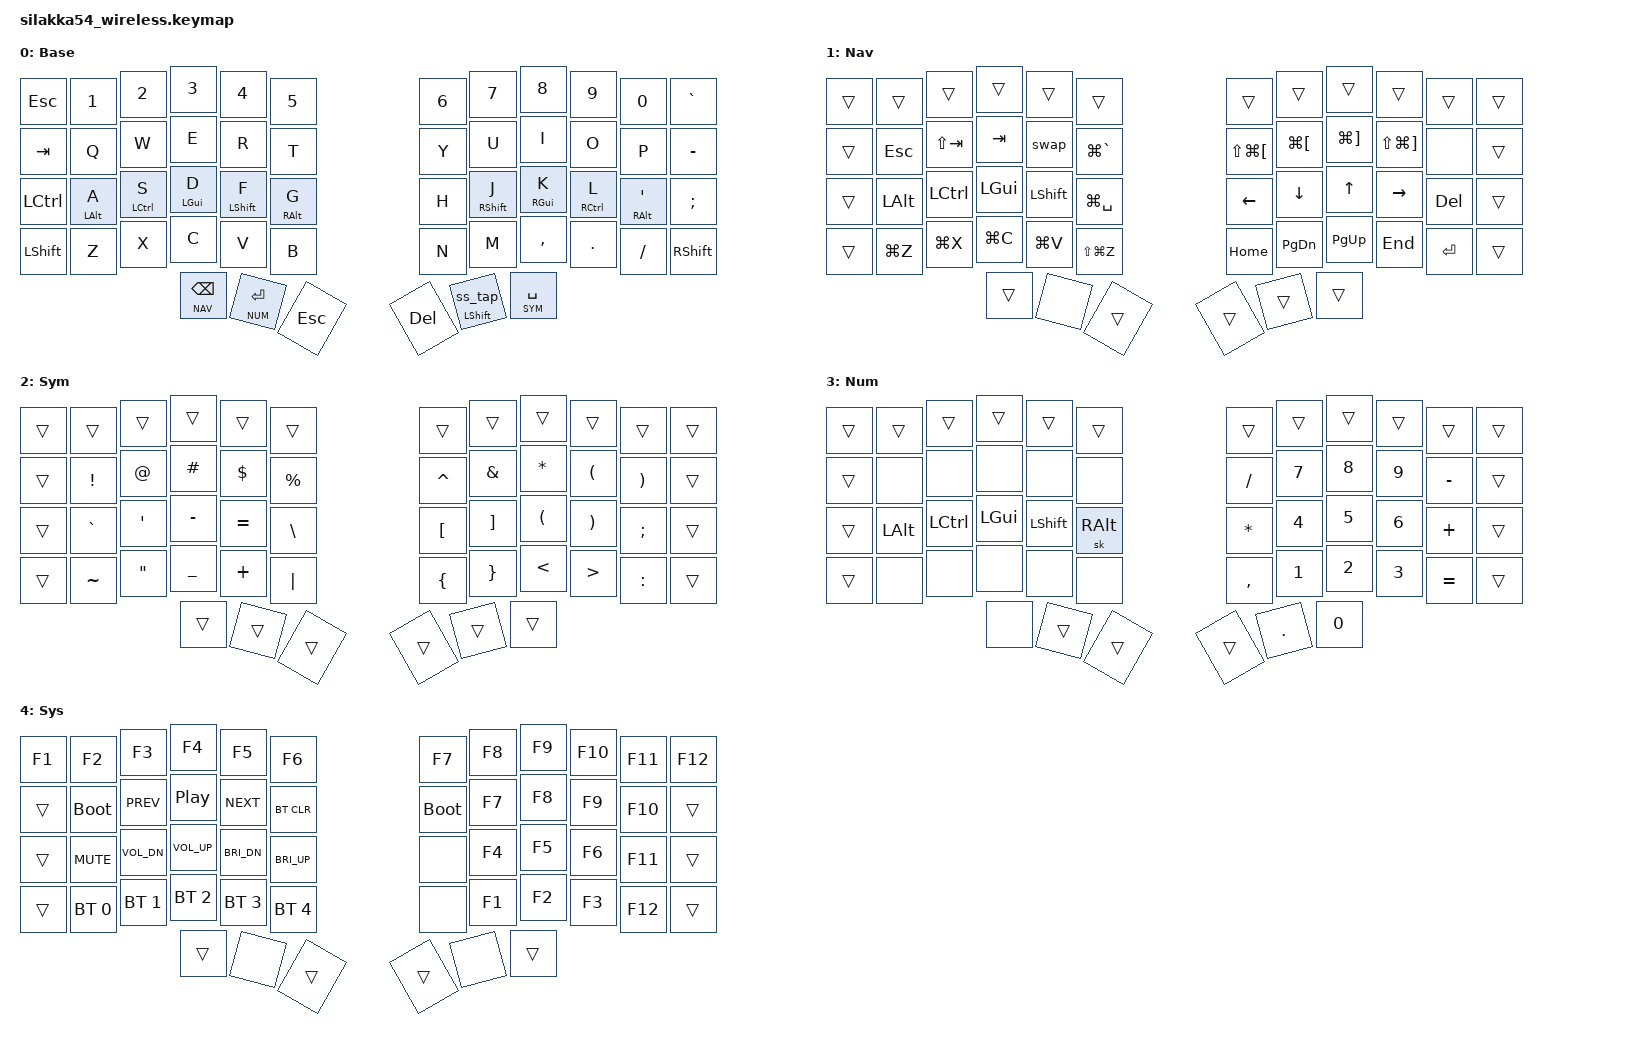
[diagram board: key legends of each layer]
#include <behaviors.dtsi>
#include <dt-bindings/zmk/bt.h>
#include <dt-bindings/zmk/keys.h>

/* Silakka54 Wireless: 54 physical keys, zero-based Studio/keymap positions.
 *   0  1  2  3  4  5       6  7  8  9 10 11
 *  12 13 14 15 16 17      18 19 20 21 22 23
 *  24 25 26 27 28 29      30 31 32 33 34 35
 *  36 37 38 39 40 41      42 43 44 45 46 47
 *           48 49 50      51 52 53
 * The 34-key Forager/Chocofi core is unchanged; extra keys surround it.
 */

#define BASE 0
#define NAV  1
#define SYM  2
#define NUM  3
#define SYS  4

&lt {
  flavor = "balanced";
  quick-tap-ms = <175>;
  tapping-term-ms = <250>;
};

&sk {
  release-after-ms = <1000>;
  quick-release;
};

/ {
  behaviors {
    hml: homewrow_mods_left {
      compatible = "zmk,behavior-hold-tap";
      #binding-cells = <2>;
      flavor = "balanced";
      bindings = <&kp>, <&kp>;
      tapping-term-ms = <280>;
      quick-tap-ms = <175>;
      require-prior-idle-ms = <150>;
      hold-trigger-on-release;
      hold-trigger-key-positions = <6 7 8 9 10 11 18 19 20 21 22 23 30 31 32 33 34 35 42 43 44 45 46 47 48 49 50 51 52 53>;
    };

    hmr: homewrow_mods_right {
      compatible = "zmk,behavior-hold-tap";
      #binding-cells = <2>;
      flavor = "balanced";
      bindings = <&kp>, <&kp>;
      tapping-term-ms = <280>;
      quick-tap-ms = <175>;
      require-prior-idle-ms = <150>;
      hold-trigger-on-release;
      hold-trigger-key-positions = <0 1 2 3 4 5 12 13 14 15 16 17 24 25 26 27 28 29 36 37 38 39 40 41 48 49 50 51 52 53>;
    };

    // Tap: one-shot shift. Tap again while it's active: caps word.
    ss_tap: smart_shift_tap {
      compatible = "zmk,behavior-mod-morph";
      #binding-cells = <0>;
      bindings = <&sk LSHFT>, <&caps_word>;
      mods = <(MOD_LSFT|MOD_RSFT)>;
    };

    // Hold: regular shift. Tap: see ss_tap.
    sshift: smart_shift {
      compatible = "zmk,behavior-hold-tap";
      #binding-cells = <2>;
      flavor = "hold-preferred";
      bindings = <&kp>, <&ss_tap>;
      tapping-term-ms = <200>;
      quick-tap-ms = <200>;
    };

    // Cmd+Tab: keep Cmd down while Nav is held. Shift+Tab (14) and
    // arrows (30-33) navigate without ending the switcher.
    swap: swapper {
      compatible = "zmk,behavior-tri-state";
      #binding-cells = <0>;
      bindings = <&kt LGUI>, <&kp TAB>, <&kt LGUI>;
      ignored-key-positions = <14 30 31 32 33>;
    };
  };

  conditional_layers {
    compatible = "zmk,conditional-layers";

    sys_layer {
      if-layers = <NAV SYM>;
      then-layer = <SYS>;
    };
  };

  keymap {
    compatible = "zmk,keymap";

    base_layer {
      display-name = "Base";
      bindings = <
        &kp ESC    &kp N1       &kp N2        &kp N3       &kp N4          &kp N5        &kp N6           &kp N7        &kp N8       &kp N9        &kp N0        &kp GRAVE
        &kp TAB    &kp Q        &kp W         &kp E        &kp R           &kp T         &kp Y            &kp U         &kp I        &kp O         &kp P         &kp MINUS
        &kp LCTRL  &hml LALT A  &hml LCTRL S  &hml LGUI D  &hml LSHFT F    &hml RALT G   &kp H            &hmr RSHFT J  &hmr RGUI K  &hmr RCTRL L  &hmr RALT SQT &kp SEMI
        &kp LSHFT  &kp Z        &kp X         &kp C        &kp V           &kp B         &kp N            &kp M         &kp COMMA    &kp DOT       &kp FSLH      &kp RSHFT
                                             &lt NAV BSPC &lt NUM RET &kp ESC       &kp DEL &sshift LSHFT 0 &lt SYM SPACE
      >;
    };

    nav_layer {
      display-name = "Nav";
      bindings = <
        &trans  &trans      &trans       &trans     &trans    &trans            &trans          &trans        &trans       &trans           &trans   &trans
        &trans  &kp ESC     &kp LS(TAB)  &kp TAB    &swap     &kp LG(GRAVE)     &kp LS(LG(LBKT)) &kp LG(LBKT)  &kp LG(RBKT) &kp LS(LG(RBKT)) &none    &trans
        &trans  &kp LALT    &kp LCTRL    &kp LGUI   &kp LSHFT &kp LG(SPACE)     &kp LEFT         &kp DOWN      &kp UP       &kp RIGHT        &kp DEL  &trans
        &trans  &kp LG(Z)   &kp LG(X)    &kp LG(C)  &kp LG(V) &kp LS(LG(Z))     &kp HOME         &kp PG_DN     &kp PG_UP    &kp END          &kp RET  &trans
                                       &trans &none &trans                     &trans &trans &trans
      >;
    };

    sym_layer {
      display-name = "Sym";
      bindings = <
        &trans  &trans     &trans   &trans     &trans    &trans          &trans    &trans   &trans   &trans   &trans    &trans
        &trans  &kp EXCL   &kp AT   &kp HASH   &kp DLLR  &kp PRCNT       &kp CARET &kp AMPS &kp STAR &kp LPAR &kp RPAR  &trans
        &trans  &kp GRAVE  &kp SQT  &kp MINUS  &kp EQUAL &kp BSLH        &kp LBKT  &kp RBKT &kp LPAR &kp RPAR &kp SEMI  &trans
        &trans  &kp TILDE  &kp DQT  &kp UNDER  &kp PLUS  &kp PIPE        &kp LBRC  &kp RBRC &kp LT   &kp GT   &kp COLON &trans
                                    &trans &trans &trans                       &trans &trans &trans
      >;
    };

    num_layer {
      display-name = "Num";
      // Num+G: one-shot AltGr; release Num, then type the target key.
      bindings = <
        &trans  &trans    &trans     &trans    &trans    &trans        &trans    &trans &trans &trans &trans    &trans
        &trans  &none     &none      &none     &none     &none         &kp FSLH  &kp N7 &kp N8 &kp N9 &kp MINUS &trans
        &trans  &kp LALT  &kp LCTRL  &kp LGUI  &kp LSHFT &sk RALT      &kp STAR  &kp N4 &kp N5 &kp N6 &kp PLUS  &trans
        &trans  &none     &none      &none     &none     &none           &kp COMMA &kp N1 &kp N2 &kp N3 &kp EQUAL &trans
                                     &none &trans &trans                      &trans &kp DOT &kp N0
      >;
    };

    sys_layer {
      display-name = "Sys";
      bindings = <
        &kp F1  &kp F2        &kp F3       &kp F4       &kp F5       &kp F6         &kp F7      &kp F8 &kp F9 &kp F10 &kp F11 &kp F12
        &trans  &bootloader   &kp C_PREV   &kp C_PP     &kp C_NEXT   &bt BT_CLR     &bootloader &kp F7 &kp F8 &kp F9  &kp F10 &trans
        &trans  &kp C_MUTE    &kp C_VOL_DN &kp C_VOL_UP &kp C_BRI_DN &kp C_BRI_UP   &none       &kp F4 &kp F5 &kp F6  &kp F11 &trans
        &trans  &bt BT_SEL 0  &bt BT_SEL 1 &bt BT_SEL 2 &bt BT_SEL 3 &bt BT_SEL 4 &none       &kp F1 &kp F2 &kp F3 &kp F12 &trans
                                            &trans &none &trans               &trans &none &trans
      >;
    };
  };
};
